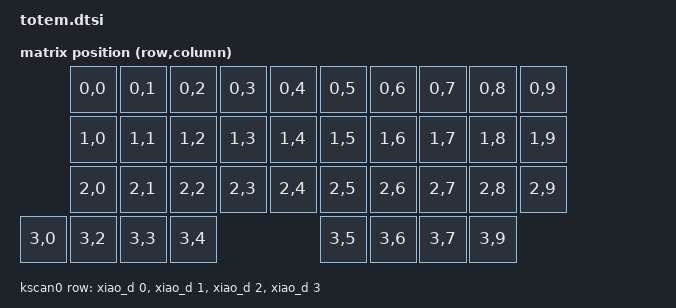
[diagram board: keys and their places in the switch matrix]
/*
 * Copyright (c) 2022 The ZMK Contributors
 *
 * SPDX-License-Identifier: MIT
 *
 * 38-key TOTEM split keyboard shield definition.
 *
 * Position numbering is row-major (matching cvaldez's known-working
 * ZMK Studio pattern):
 *
 *      0   1   2   3   4       5   6   7   8   9
 *     10  11  12  13  14      15  16  17  18  19
 *  30 20  21  22  23  24      25  26  27  28  29 37
 *             31  32  33      34  35  36
 */

#include "totem-layouts.dtsi"
#include <dt-bindings/zmk/matrix_transform.h>

/ {
    chosen {
        zmk,kscan = &kscan0;
        zmk,physical-layout = &totem_layout;
    };

    default_transform: keymap_transform_0 {
        compatible = "zmk,matrix-transform";
        columns = <10>;
        rows = <4>;
        // Row-major: inner bottom row first (RC(2,*)) then row 3 (outer
        // pinkies on cols 0/9, thumbs on cols 2-7).
        map = <
                RC(0,0) RC(0,1) RC(0,2) RC(0,3) RC(0,4)    RC(0,5) RC(0,6) RC(0,7) RC(0,8) RC(0,9)
                RC(1,0) RC(1,1) RC(1,2) RC(1,3) RC(1,4)    RC(1,5) RC(1,6) RC(1,7) RC(1,8) RC(1,9)
                RC(2,0) RC(2,1) RC(2,2) RC(2,3) RC(2,4)    RC(2,5) RC(2,6) RC(2,7) RC(2,8) RC(2,9)
        RC(3,0)         RC(3,2) RC(3,3) RC(3,4)    RC(3,5) RC(3,6) RC(3,7)         RC(3,9)
        >;
    };

    kscan0: kscan_0 {
        compatible = "zmk,kscan-gpio-matrix";
        label = "KSCAN";
        diode-direction = "col2row";
        row-gpios
            = <&xiao_d 0 (GPIO_ACTIVE_HIGH | GPIO_PULL_DOWN)>
            , <&xiao_d 1 (GPIO_ACTIVE_HIGH | GPIO_PULL_DOWN)>
            , <&xiao_d 2 (GPIO_ACTIVE_HIGH | GPIO_PULL_DOWN)>
            , <&xiao_d 3 (GPIO_ACTIVE_HIGH | GPIO_PULL_DOWN)>
            ;
    };
};
